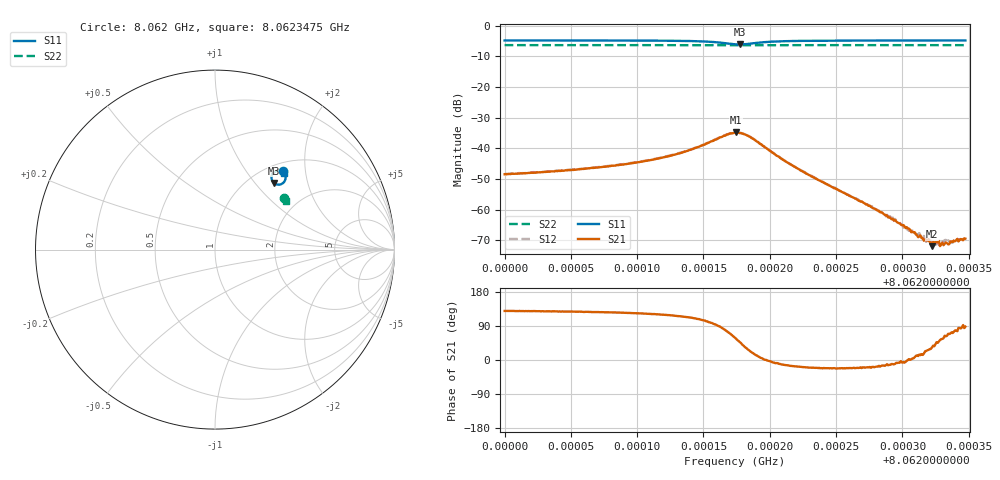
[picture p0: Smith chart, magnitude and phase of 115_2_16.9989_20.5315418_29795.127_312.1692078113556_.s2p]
#  HZ  S  RI  R  50.00
! Rohde & Schwarz Vector Network Analyzer
! Rohde-Schwarz,ZNB20-2Port,1311601062101988,3.16
! Created: UTC 3/20/2024, 10:57:12 PM
! freq[Hz]  re:S11  im:S11  re:S21  im:S21  re:S12  im:S12  re:S22  im:S22
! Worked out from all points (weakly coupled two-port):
!   401 points, 8.062 GHz to 8.0623475 GHz, reference 50 ohm
!   highest |S21| = -34.85 dB at 8.0621746 GHz (marker M1); lowest = -72.0 dB at 8.0623223 GHz (marker M2)
!   lowest |S11| = -6.1 dB at 8.0621772 GHz (marker M3), VSWR 2.96, Z = 63.9 + j63 ohm
!   |S11| at or under -10 dB: nowhere
!   |S22| runs from -6.4 to -6.3 dB; largest |S21 - S12| = 0.0013
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8.06200004e9  0.3765 0.4354  -0.0024 0.00291  -0.00223 0.00306  0.3868 0.2896
8.06205824e9  0.3823 0.4294  -0.00278 0.00364  -0.00258 0.00384  0.3888 0.2867
8.06208777e9  0.3856 0.4248  -0.00308 0.00441  -0.00284 0.00469  0.3898 0.285
8.06211644e9  0.39 0.417  -0.00345 0.0059  -0.00312 0.00619  0.3908 0.2834
8.06213641e9  0.393 0.4062  -0.00352 0.00811  -0.00309 0.00842  0.3914 0.2818
8.062159e9  0.3856 0.3776  -0.001 0.0138  5.5e-06 0.0141  0.3912 0.2798
8.06217377e9  0.3413 0.3638  0.00923 0.0152  0.0104 0.0147  0.3896 0.2792
8.06217463e9  0.3377 0.365  0.0101 0.015  0.0111 0.0144  0.3897 0.2792
8.06217724e9  0.3277 0.3716  0.012 0.0131  0.013 0.0124  0.3893 0.2796
8.0621868e9  0.3152 0.4078  0.0137 0.00471  0.0142 0.00401  0.3897 0.2809
8.06221025e9  0.3462 0.4394  0.00627 -0.0014  0.00624 -0.00177  0.3921 0.2806
8.06223197e9  0.3614 0.4396  0.00322 -0.00119  0.0032 -0.00144  0.3935 0.2794
8.06227105e9  0.3732 0.4357  0.0012 -0.000427  0.00116 -0.000507  0.3951 0.2772
8.06229017e9  0.3765 0.4339  0.000727 -0.000163  0.000747 -0.000213  0.3958 0.2764
8.06230493e9  0.3787 0.4327  0.000487 1.95e-05  0.000446 -5.26e-05  0.3964 0.2755
8.06231622e9  0.38 0.4317  0.000296 9.14e-05  0.000354 0.000109  0.3968 0.2749
8.06232231e9  0.3807 0.4313  0.00021 0.000139  0.00024 0.000131  0.3969 0.2745
8.06232665e9  0.3811 0.431  0.000208 0.00021  0.000213 0.000199  0.3971 0.2744
8.06233012e9  0.3816 0.4307  0.000162 0.000236  0.000212 0.00021  0.3973 0.2742
8.0623336e9  0.3819 0.4303  0.000125 0.000253  0.000153 0.000239  0.3974 0.2741
8.06233794e9  0.3823 0.4301  9.55e-05 0.00028  9.23e-05 0.000273  0.3974 0.2736
8.0623475e9  0.3832 0.4293  1.17e-05 0.000335  1.57e-05 0.000343  0.3976 0.2732
